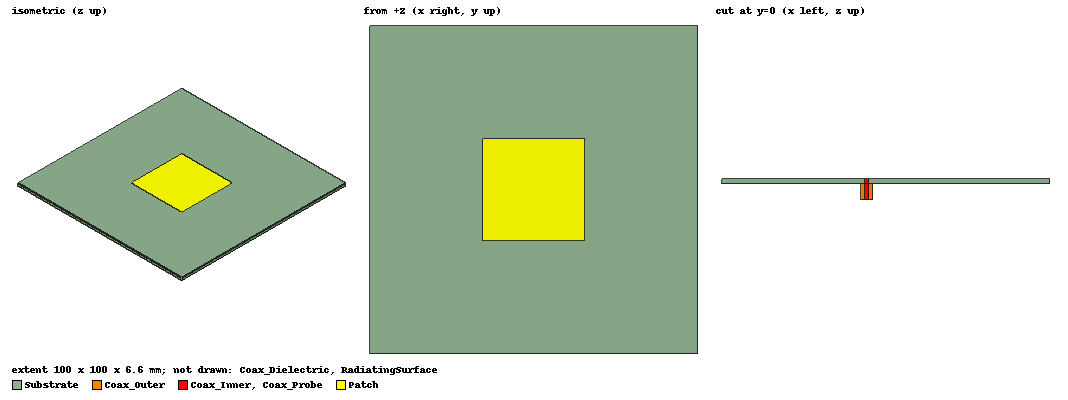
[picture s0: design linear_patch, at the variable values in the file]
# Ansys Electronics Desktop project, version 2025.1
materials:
  vacuum: permittivity=1
  FR4_epoxy: permittivity=4.4 dielectric_loss_tangent=0.02
  pec: conductivity=1e+30

design linear_patch (HFSS, HFSS Modal Network, model units mm)
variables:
  sub_x = 10cm
  sub_y = 10cm
  sub_z = 1.6mm  # Board thickness
  feed_point = 0.38  # Fraction of length from center to edge of patch
  patch_l = 30.89mm  # Square patch length
  coax_outer_rad = 1.8mm
  coax_inner_rad = 0.635mm
  coax_dielectric_rad = 1.67mm
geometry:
  Substrate [FR4_epoxy] = box(corner=(-sub_x/2, -sub_y/2, 0mm), size=(sub_x, sub_y, sub_z))
  Ground = rectangle(corner=(-sub_x/2, -sub_y/2, 0mm), x_size=sub_x, y_size=sub_y)
  Hole = circle(normal=Z, centre=(feed_point*patch_l/2, 0mm, 0mm), radius=coax_outer_rad)
  Ground.subtract(Hole)
  Patch = rectangle(corner=(-patch_l /2, -patch_l/2, sub_z), x_size=patch_l, y_size=patch_l)
  Coax_Dielectric [vacuum] = cylinder(axis=Z, base_centre=(feed_point*patch_l/2, 0mm, 0mm), radius=coax_dielectric_rad, height=-5mm)
  Coax_Inner [pec] = cylinder(axis=Z, base_centre=(feed_point*patch_l/2, 0mm, 0mm), radius=coax_inner_rad, height=-5mm)
  Coax_Probe [pec] = cylinder(axis=Z, base_centre=(feed_point*patch_l/2, 0mm, 0mm), radius=coax_inner_rad, height=sub_z)
  Port = circle(normal=Z, centre=(feed_point*patch_l/2, 0mm, -5mm), radius=coax_outer_rad)
  RadiatingSurface [vacuum] = region(absolute_offset=44.54343mm on all sides)
  Coax_Outer [pec] = cylinder(axis=Z, base_centre=(feed_point*patch_l/2, 0mm, 0mm), radius=coax_outer_rad, height=-5mm)
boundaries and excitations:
  PerfE1: Perfect E Objects=Ground
  PerfE2: Perfect E Objects=Patch
  Open1: Radiation Objects=RadiatingSurface
  1: Lumped Port Objects=Port LumpedPortType=Default Modes{Mode1{IntLine{(6.5041, 0, -5) -> (7.5391, 0, -5)} CharImp=Zpi}} Impedance=50ohm
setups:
  Setup1: HfssDriven Frequency=2.245GHz MaxDeltaS=0.02 MaximumPasses=20 MinimumPasses=1 MinimumConvergedPasses=1 PercentRefinement=30 BasisOrder=1 PortAccuracy=2 DrivenSolverType="Direct Solver"
    sweep Sweep: 2.2GHz to 2.29GHz step 1MHz; Type=Interpolating InterpTolerance=0.5 InterpMaxSolns=250 InterpUsePortImped=false PassivityErrorTolerance=0.0001
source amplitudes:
  1:1: 1W 0deg
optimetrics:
  ParametricSetup_coarse_patch_l: Parametric Sim._Setups=[Setup1]
    sweep patch_l: LIN 28mm 35mm 1mm
  ParametricSetup_fine_patch_l: Parametric Sim._Setups=[Setup1]
    sweep patch_l: LIN 30.6mm 31.1mm 0.1mm
  ParametricSetup_coarse_feed_point: Parametric Sim._Setups=[Setup1]
    sweep feed_point: LIN 0.25 0.55 0.05
  ParametricSetup_fine_feed_point: Parametric Sim._Setups=[Setup1]
    sweep feed_point: LIN 0.37 0.43 0.01
  ParametricSetup1_patch_l_tolerance_feed_038: Parametric Sim._Setups=[Setup1]
    sweep patch_l: LIN 30.7mm 31.1mm 0.1mm
  ParametricSetup1_fine2_patch_l: Parametric Sim._Setups=[Setup1]
    sweep patch_l: LIN 30.87mm 30.89mm 0.01mm
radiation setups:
  3D: Infinite Sphere Theta=0deg..180deg step 2deg Phi=-180deg..180deg step 2deg
  Elevation: Infinite Sphere Theta=-180deg..180deg step 1deg Phi=0deg..90deg step 90deg
  Azimuth: Infinite Sphere Theta=90deg..90deg step 0deg Phi=-180deg..180deg step 1deg
  Infinite Sphere1: Infinite Sphere Theta=0deg..180deg step 2deg Phi=-180deg..180deg step 2deg
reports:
  S Parameter Plot1: dB(S(1,1)) vs Freq on Setup1 : Sweep [patch_l=28mm,29mm,30mm,31mm,31.5mm,32mm,33mm,34mm,35mm]; markers m1 at 2.235GHz
  S Parameter Plot2: dB(S(1,1)) vs Freq on Setup1 : Sweep [patch_l=30.6mm,30.7mm,30.8mm,30.9mm,31mm,31.1mm]; markers m1 at 2.243GHz, m2 at 2.2305088GHz, m3 at 2.2557253GHz
  S Parameter Plot3: dB(S(1,1)) vs Freq on Setup1 : Sweep [feed_point=0.25,0.3,0.35,0.4,0.45,0.5,0.55 patch_l=30.9mm]
  S11 (dB) vs. Frequency (GHz) for feed points 0.37-0.43 (patch_l = 30.89mm): dB(S(1,1)) vs Freq on Setup1 : Sweep [feed_point=0.37,0.38,0.39,0.4,0.41,0.42,0.43 patch_l=30.89mm]; markers m1 at 2.244GHz, m2 at 2.245GHz
  S11 (dB) vs. Frequency (GHz) for square patch lengths 30.7-31.1mm (feed_point = 0.38): dB(S(1,1)) vs Freq on Setup1 : Sweep [feed_point=0.38 patch_l=30.6mm,30.7mm,30.8mm,30.89mm,31mm,31.1mm]; markers MX1 at x=2.245e+09
  Realized Gain Plot1: dB(RealizedGainTotal) vs Phi, Theta on Setup1 : LastAdaptive, Infinite Sphere1 [Freq=2.245GHz feed_point=0.38 patch_l=30.89mm]
  Realized Gain Plot2: dB(RealizedGainTotal) vs Theta on Setup1 : LastAdaptive, 3D [Phi=0deg Freq=2.245GHz feed_point=0.38 patch_l=30.89mm]; markers m1 at 0deg
  Realized Gain Plot3: dB(RealizedGainTotal) vs Theta on Setup1 : LastAdaptive, 3D [Phi=90deg Freq=2.245GHz feed_point=0.38 patch_l=30.89mm]; markers m1 at 0deg
